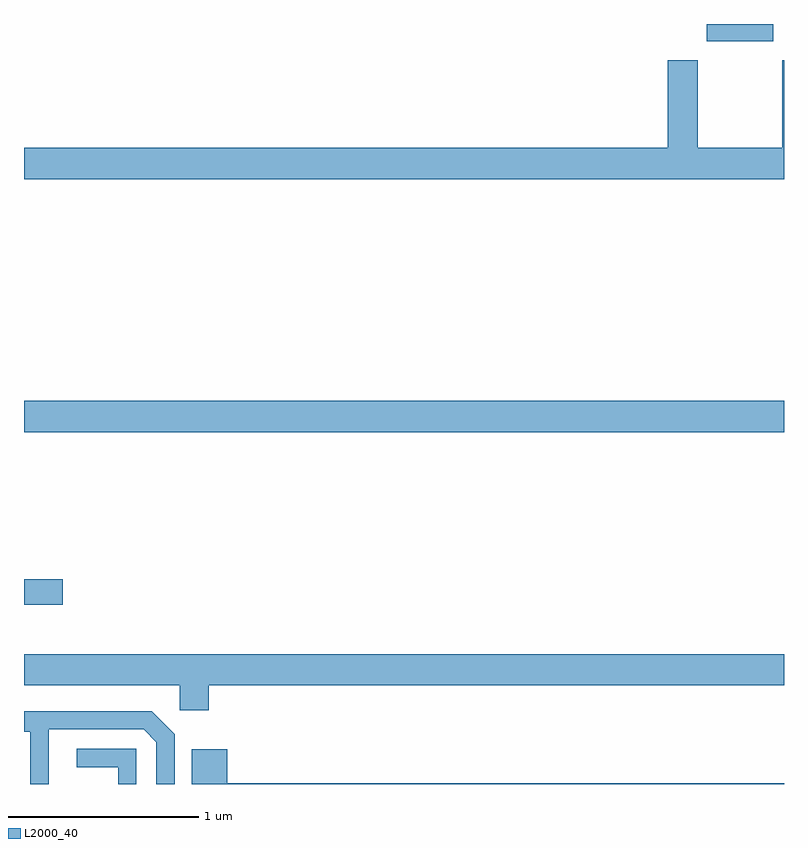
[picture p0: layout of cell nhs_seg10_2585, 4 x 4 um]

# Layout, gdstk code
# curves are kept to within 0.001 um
import gdstk
lib = gdstk.Library(unit=1e-6, precision=1e-09)
def R(c, l, rs):  # rectangles x0, y0, x1, y1
    for r in rs: c.add(gdstk.rectangle(r[:2], r[2:], *l))
def P(c, l, *ps):  # polygons
    for p in ps: c.add(gdstk.Polygon(p, *l))
L2000_40 = (2000, 40)

nhs_seg10_2585 = lib.new_cell('nhs_seg10_2585')
R(nhs_seg10_2585, L2000_40, [(251,1263.443,251.203,1263.578), (251,1264.352,255,1264.516), (254.594,1266.41,254.944,1266.5)])
P(nhs_seg10_2585, L2000_40, [(255,1266.31),(254.992,1266.31),(254.992,1265.848),(254.547,1265.848),(254.547,1266.31),(254.387,1266.31),(254.387,1265.848),(251,1265.848),(251,1265.684),(255,1265.684)],
  [(251.972,1263.02),(255,1263.02),(255,1263.184),(251,1263.184),(251,1263.02),(251.82,1263.02),(251.82,1262.889),(251.972,1262.889)],
  [(251.13,1262.587),(251.131,1262.787),(251.631,1262.787),(251.697,1262.721),(251.697,1262.5),(251.793,1262.5),(251.793,1262.763),(251.672,1262.884),(251,1262.884),(251,1262.774),(251.034,1262.774),(251.034,1262.5),(251.13,1262.5)],
  [(251.592,1262.685),(251.277,1262.685),(251.277,1262.589),(251.496,1262.589),(251.496,1262.5),(251.592,1262.5)],
  [(255,1262.504),(252.069,1262.504),(252.069,1262.683),(251.882,1262.683),(251.882,1262.5),(255,1262.5)])

lib.write_gds('nhs_seg10_2585.gds')
